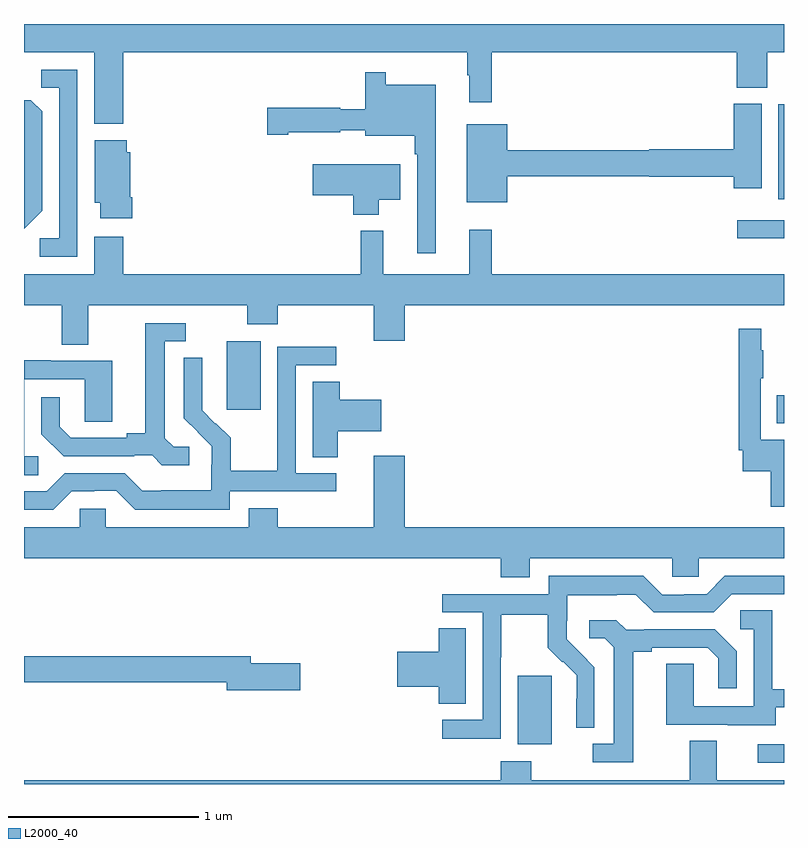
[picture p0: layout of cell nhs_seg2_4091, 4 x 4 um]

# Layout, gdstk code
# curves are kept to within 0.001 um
import gdstk
lib = gdstk.Library(unit=1e-6, precision=1e-09)
def R(c, l, rs):  # rectangles x0, y0, x1, y1
    for r in rs: c.add(gdstk.rectangle(r[:2], r[2:], *l))
def P(c, l, *ps):  # polygons
    for p in ps: c.add(gdstk.Polygon(p, *l))
L2000_40 = (2000, 40)

nhs_seg2_4091 = lib.new_cell('nhs_seg2_4091')
R(nhs_seg2_4091, L2000_40, [(334.863,627.912,335,628.008), (333.599,628.01,333.778,628.371), (334.963,629.699,335,629.847), (332.066,629.769,332.245,630.13), (334.755,630.672,335,630.768), (334.97,630.878,335,631.378)])
P(nhs_seg2_4091, L2000_40, [(331.523,631.652),(333.333,631.652),(333.333,631.529),(333.344,631.529),(333.344,631.389),(333.461,631.389),(333.461,631.652),(334.751,631.652),(334.751,631.465),(334.911,631.465),(334.911,631.652),(335,631.652),(335,631.8),(331,631.8),(331,631.652),(331.37,631.652),(331.37,631.274),(331.523,631.274)],
  [(331.281,631.56),(331.09,631.56),(331.09,631.465),(331.185,631.465),(331.185,630.672),(331.083,630.672),(331.083,630.576),(331.281,630.576)],
  [(333.166,631.48),(332.905,631.48),(332.905,631.546),(332.795,631.546),(332.795,631.351),(332.664,631.351),(332.664,631.359),(332.28,631.359),(332.28,631.217),(332.392,631.217),(332.392,631.229),(332.664,631.229),(332.664,631.241),(332.795,631.241),(332.795,631.211),(333.057,631.211),(333.057,631.115),(333.069,631.115),(333.069,630.594),(333.166,630.594)],
  [(331.003,630.725),(331.095,630.818),(331.095,631.34),(331.036,631.399),(331,631.399),(331,631.286),(331.002,631.284),(331.002,631.184),(331,631.184),(331,630.722)],
  [(333.544,631),(334.29,631),(334.29,630.995),(334.736,630.995),(334.736,630.936),(334.882,630.936),(334.882,631.38),(334.736,631.38),(334.736,631.142),(334.29,631.142),(334.29,631.136),(333.544,631.136),(333.544,631.273),(333.329,631.273),(333.329,630.863),(333.544,630.863)],
  [(331.571,630.889),(331.558,630.889),(331.558,631.125),(331.54,631.125),(331.54,631.189),(331.373,631.189),(331.373,630.858),(331.4,630.858),(331.4,630.777),(331.571,630.777)],
  [(332.866,630.875),(332.98,630.875),(332.98,631.063),(332.52,631.063),(332.52,630.898),(332.732,630.898),(332.732,630.797),(332.866,630.797)],
  [(331.339,630.32),(332.176,630.32),(332.176,630.221),(332.336,630.221),(332.336,630.32),(332.84,630.32),(332.84,630.132),(333.004,630.132),(333.004,630.32),(335,630.32),(335,630.484),(333.461,630.484),(333.461,630.718),(333.344,630.718),(333.344,630.484),(332.891,630.484),(332.891,630.712),(332.773,630.712),(332.773,630.484),(331.523,630.484),(331.523,630.679),(331.37,630.679),(331.37,630.484),(331,630.484),(331,630.32),(331.199,630.32),(331.199,630.112),(331.339,630.112)],
  [(331.87,629.574),(331.788,629.574),(331.741,629.621),(331.741,630.129),(331.852,630.129),(331.852,630.225),(331.637,630.225),(331.637,629.645),(331.541,629.645),(331.541,629.622),(331.246,629.622),(331.189,629.679),(331.189,629.836),(331.092,629.836),(331.092,629.642),(331.208,629.526),(331.58,629.526),(331.58,629.529),(331.674,629.529),(331.726,629.477),(331.87,629.477)],
  [(335,629.611),(334.878,629.611),(334.878,629.935),(334.891,629.935),(334.891,630.083),(334.88,630.083),(334.88,630.196),(334.762,630.196),(334.762,629.557),(334.782,629.557),(334.782,629.446),(334.931,629.446),(334.931,629.259),(335,629.259)],
  [(332.082,629.34),(332.644,629.34),(332.644,629.436),(332.43,629.436),(332.43,630.003),(332.644,630.003),(332.644,630.102),(332.334,630.102),(332.334,629.672),(332.332,629.672),(332.332,629.449),(332.087,629.449),(332.087,629.623),(332.01,629.7),(332.007,629.697),(331.937,629.768),(331.938,630.044),(331.842,630.044),(331.842,629.726),(331.988,629.578),(331.988,629.481),(331.986,629.481),(331.986,629.347),(331.723,629.347),(331.723,629.343),(331.623,629.343),(331.53,629.436),(331.215,629.436),(331.119,629.34),(331,629.34),(331,629.244),(331.155,629.244),(331.251,629.34),(331.37,629.34),(331.37,629.343),(331.485,629.343),(331.585,629.243),(332.082,629.243)],
  [(331.075,629.526),(331.002,629.526),(331.002,629.931),(331.32,629.931),(331.32,629.707),(331.465,629.707),(331.465,630.027),(331.141,630.027),(331.141,630.031),(331,630.031),(331,629.425),(331.075,629.425)],
  [(332.65,629.657),(332.881,629.657),(332.881,629.823),(332.663,629.823),(332.663,629.918),(332.519,629.918),(332.519,629.521),(332.65,629.521)],
  [(333.661,628.988),(334.413,628.988),(334.413,628.89),(334.551,628.89),(334.551,628.988),(335,628.988),(335,629.152),(333.004,629.152),(333.004,629.527),(332.84,629.527),(332.84,629.152),(332.336,629.152),(332.336,629.251),(332.183,629.251),(332.183,629.152),(331.431,629.152),(331.431,629.25),(331.293,629.25),(331.293,629.152),(331,629.152),(331,628.988),(333.509,628.988),(333.509,628.889),(333.661,628.889)],
  [(333.51,628.468),(333.513,628.468),(333.513,628.692),(333.757,628.692),(333.757,628.517),(333.834,628.44),(333.837,628.443),(333.908,628.373),(333.908,628.25),(333.906,628.25),(333.906,628.096),(334.002,628.096),(334.002,628.414),(333.856,628.562),(333.856,628.659),(333.858,628.659),(333.858,628.793),(334.121,628.793),(334.121,628.797),(334.221,628.797),(334.314,628.704),(334.629,628.704),(334.725,628.8),(335,628.8),(335,628.896),(334.689,628.896),(334.593,628.8),(334.475,628.8),(334.475,628.797),(334.359,628.797),(334.259,628.897),(333.762,628.897),(333.762,628.8),(333.201,628.8),(333.201,628.704),(333.414,628.704),(333.414,628.137),(333.201,628.137),(333.201,628.039),(333.51,628.039)],
  [(334.957,628.203),(335,628.203),(335,628.299),(334.938,628.299),(334.938,628.715),(334.77,628.715),(334.77,628.614),(334.842,628.614),(334.842,628.209),(334.524,628.209),(334.524,628.433),(334.379,628.433),(334.379,628.113),(334.703,628.113),(334.703,628.109),(334.957,628.109)],
  [(334.207,628.496),(334.303,628.496),(334.303,628.518),(334.598,628.518),(334.655,628.461),(334.655,628.305),(334.752,628.305),(334.752,628.498),(334.636,628.614),(334.264,628.614),(334.264,628.611),(334.17,628.611),(334.118,628.663),(333.975,628.663),(333.975,628.566),(334.056,628.566),(334.103,628.519),(334.103,628.011),(333.993,628.011),(333.993,627.915),(334.207,627.915)],
  [(333.325,628.619),(333.182,628.619),(333.182,628.496),(332.964,628.496),(332.964,628.313),(333.182,628.313),(333.182,628.222),(333.325,628.222)],
  [(332.455,628.436),(332.194,628.436),(332.194,628.472),(331,628.472),(331,628.336),(332.066,628.336),(332.066,628.294),(332.455,628.294)],
  [(335,627.82),(334.645,627.82),(334.645,628.028),(334.505,628.028),(334.505,627.82),(333.669,627.82),(333.669,627.919),(333.509,627.919),(333.509,627.82),(331,627.82),(331,627.8),(335,627.8)])

lib.write_gds('nhs_seg2_4091.gds')
